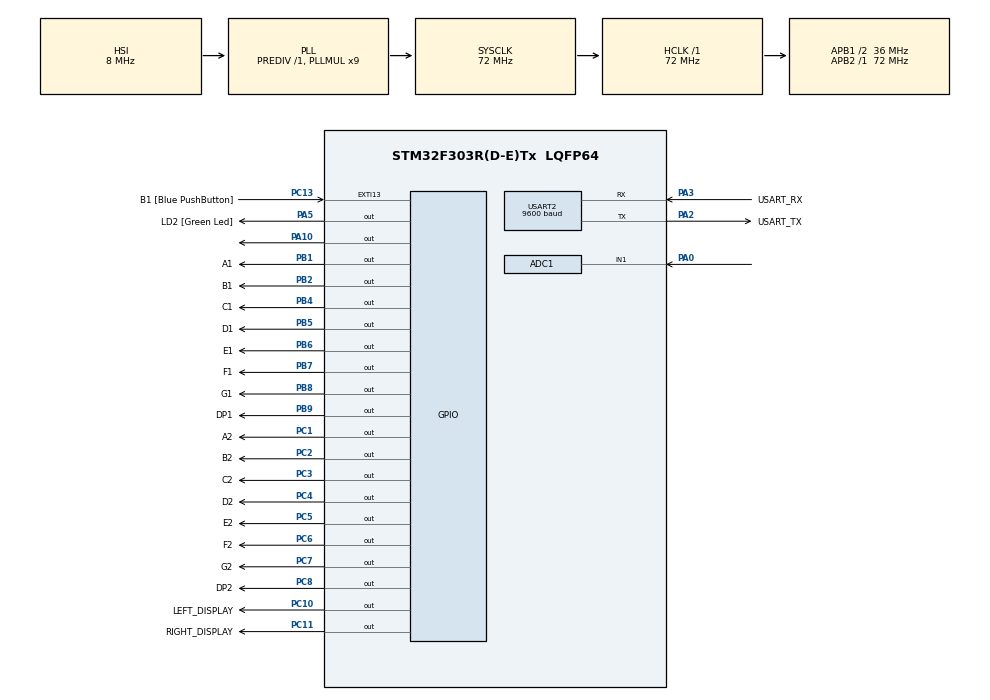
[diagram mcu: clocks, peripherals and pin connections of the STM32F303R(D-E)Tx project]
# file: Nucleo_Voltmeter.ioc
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ADC1.Channel-0\#ChannelRegularConversion=ADC_CHANNEL_1
ADC1.NbrOfConversionFlag=1
ADC1.Offset-0\#ChannelRegularConversion=0
ADC1.OffsetNumber-0\#ChannelRegularConversion=ADC_OFFSET_NONE
ADC1.Rank-0\#ChannelRegularConversion=1
ADC1.SamplingTime-0\#ChannelRegularConversion=ADC_SAMPLETIME_1CYCLE_5
ADC1.SamplingTimeOPAMP-0\#ChannelRegularConversion=ADC_SAMPLETIME_61CYCLES_5
ADC1.master=1
Mcu.Family=STM32F3
Mcu.Name=STM32F303R(D-E)Tx
Mcu.Package=LQFP64
NVIC.PriorityGroup=NVIC_PRIORITYGROUP_0
PA0.Mode=IN1-Single-Ended
PA0.Signal=ADC1_IN1
PA10.Signal=GPIO_Output
PA13.GPIO_Label=TMS
PA13.Mode=Serial_Wire
PA13.Signal=SYS_JTMS-SWDIO
PA14.GPIO_Label=TCK
PA14.Mode=Serial_Wire
PA14.Signal=SYS_JTCK-SWCLK
PA2.GPIO_Label=USART_TX
PA2.GPIO_Mode=GPIO_MODE_AF_PP
PA2.GPIO_PuPd=GPIO_NOPULL
PA2.GPIO_Speed=GPIO_SPEED_FREQ_LOW
PA2.Mode=Asynchronous
PA2.Signal=USART2_TX
PA3.GPIO_Label=USART_RX
PA3.GPIO_Mode=GPIO_MODE_AF_PP
PA3.GPIO_PuPd=GPIO_NOPULL
PA3.GPIO_Speed=GPIO_SPEED_FREQ_LOW
PA3.Mode=Asynchronous
PA3.Signal=USART2_RX
PA5.GPIO_Label=LD2 [Green Led]
PA5.GPIO_Mode=GPIO_MODE_OUTPUT_PP
PA5.GPIO_PuPd=GPIO_NOPULL
PA5.GPIO_Speed=GPIO_SPEED_FREQ_LOW
PA5.Signal=GPIO_Output
PB1.GPIO_Label=A1
PB1.Signal=GPIO_Output
PB2.GPIO_Label=B1
PB2.Signal=GPIO_Output
PB3.GPIO_Label=SWO
PB3.Signal=SYS_JTDO-TRACESWO
PB4.GPIO_Label=C1
PB4.Signal=GPIO_Output
PB5.GPIO_Label=D1
PB5.Signal=GPIO_Output
PB6.GPIO_Label=E1
PB6.Signal=GPIO_Output
PB7.GPIO_Label=F1
PB7.Signal=GPIO_Output
PB8.GPIO_Label=G1
PB8.Signal=GPIO_Output
PB9.GPIO_Label=DP1
PB9.Signal=GPIO_Output
PC1.GPIO_Label=A2
PC1.Signal=GPIO_Output
PC10.GPIO_Label=LEFT_DISPLAY
PC10.Signal=GPIO_Output
PC11.GPIO_Label=RIGHT_DISPLAY
PC11.Signal=GPIO_Output
PC13.GPIO_Label=B1 [Blue PushButton]
PC13.GPIO_ModeDefaultEXTI=GPIO_MODE_IT_FALLING
PC13.Signal=GPXTI13
PC14-OSC32_IN.Mode=LSE-External-Oscillator
PC14-OSC32_IN.Signal=RCC_OSC32_IN
PC15-OSC32_OUT.Mode=LSE-External-Oscillator
PC15-OSC32_OUT.Signal=RCC_OSC32_OUT
PC2.GPIO_Label=B2
PC2.Signal=GPIO_Output
PC3.GPIO_Label=C2
PC3.Signal=GPIO_Output
PC4.GPIO_Label=D2
PC4.Signal=GPIO_Output
PC5.GPIO_Label=E2
PC5.Signal=GPIO_Output
PC6.GPIO_Label=F2
PC6.Signal=GPIO_Output
PC7.GPIO_Label=G2
PC7.Signal=GPIO_Output
PC8.GPIO_Label=DP2
PC8.Signal=GPIO_Output
PF0-OSC_IN.Mode=HSE-External-Clock-Source
PF0-OSC_IN.Signal=RCC_OSC_IN
PF1-OSC_OUT.Signal=RCC_OSC_OUT
ProjectManager.HeapSize=0x200
ProjectManager.StackSize=0x400
ProjectManager.TargetToolchain=STM32CubeIDE
RCC.AHBFreq_Value=72000000
RCC.APB1CLKDivider=RCC_HCLK_DIV2
RCC.APB1Freq_Value=36000000
RCC.APB1TimFreq_Value=72000000
RCC.APB2Freq_Value=72000000
RCC.APB2TimFreq_Value=72000000
RCC.CortexFreq_Value=72000000
RCC.HCLKFreq_Value=72000000
RCC.HSE_VALUE=8000000
RCC.HSI_VALUE=8000000
RCC.PLLM=8
RCC.PLLMUL=RCC_PLL_MUL9
RCC.PLLN=336
RCC.PLLP=RCC_PLLP_DIV4
RCC.PLLQ=7
RCC.RCC_PLLsource_Clock_Source_FROM_HSE=RCC_HSE_PREDIV_DIV2
RCC.SYSCLKFreq_VALUE=72000000
RCC.SYSCLKSourceVirtual=RCC_SYSCLKSOURCE_PLLCLK
RCC.USBFreq_Value=72000000
USART2.BaudRate=9600
USART2.VirtualMode-Asynchronous=VM_ASYNC
board=NUCLEO-F303RE

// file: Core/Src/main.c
/* USER CODE BEGIN Header */
/**
  ******************************************************************************
  * @file           : main.c
  * @brief          : Main program body
  ******************************************************************************
  * @attention
  *
  * <h2><center>&copy; Copyright (c) 2024 STMicroelectronics.
  * All rights reserved.</center></h2>
  *
  * This software component is licensed by ST under BSD 3-Clause license,
  * the "License"; You may not use this file except in compliance with the
  * License. You may obtain a copy of the License at:
  *                        opensource.org/licenses/BSD-3-Clause
  *
  ******************************************************************************
  */
/* USER CODE END Header */
#include "main.h"

/* USER CODE BEGIN Includes */

// Libs declaration:
#include <string.h>
#include <stdio.h>

/* USER CODE END Includes */

/* USER CODE BEGIN PD */

// Pin definitions:

/* USER CODE END PD */

ADC_HandleTypeDef hadc1;

UART_HandleTypeDef huart2;

void SystemClock_Config(void);
static void MX_GPIO_Init(void);
static void MX_USART2_UART_Init(void);
static void MX_ADC1_Init(void);

int main(void)
{
  /* USER CODE BEGIN 1 */

// Deklaracja zmiennych:
uint16_t raw;
char msg[10];

  /* USER CODE END 1 */

  /* MCU Configuration--------------------------------------------------------*/

  /* Reset of all peripherals, Initializes the Flash interface and the Systick. */
  HAL_Init();

  /* Configure the system clock */
  SystemClock_Config();

  /* Initialize all configured peripherals */
  MX_GPIO_Init();
  MX_USART2_UART_Init();
  MX_ADC1_Init();

  /* Infinite loop */
  /* USER CODE BEGIN WHILE */
  while (1)
  {

//HAL_GPIO_WritePin(GPIOA, A_Pin , GPIO_PIN_RESET);

// Test: GPIO set pin high:
//HAL_GPIO_WritePin(GPIOA, GPIO_PIN_10, GPIO_PIN_SET);

// Get ADC Value:
HAL_ADC_Start(&hadc1);
HAL_ADC_PollForConversion(&hadc1, HAL_MAX_DELAY);
raw = HAL_ADC_GetValue(&hadc1);

// Test: GPIO set pin low:
//HAL_GPIO_WritePin(GPIOA, GPIO_PIN_10, GPIO_PIN_RESET);

 // USART check:
// Convert to string and print:
sprintf(msg, "%hu\r\n", raw);
HAL_UART_Transmit(&huart2, (uint8_t*)msg, strlen(msg), HAL_MAX_DELAY);

// 7seg display - if statement:

if (raw == 0)
{
	// Left num:
	HAL_GPIO_WritePin(GPIOB, A1_Pin, GPIO_PIN_RESET);
	HAL_GPIO_WritePin(GPIOB, B1_Pin, GPIO_PIN_RESET);
	HAL_GPIO_WritePin(GPIOB, C1_Pin, GPIO_PIN_RESET);
	HAL_GPIO_WritePin(GPIOB, D1_Pin, GPIO_PIN_RESET);
	HAL_GPIO_WritePin(GPIOB, E1_Pin, GPIO_PIN_RESET);
	HAL_GPIO_WritePin(GPIOB, F1_Pin, GPIO_PIN_RESET);
	HAL_GPIO_WritePin(GPIOB, G1_Pin, GPIO_PIN_SET);
	HAL_GPIO_WritePin(GPIOB, DP1_Pin, GPIO_PIN_RESET);

	// Right num:
	HAL_GPIO_WritePin(GPIOC, A2_Pin, GPIO_PIN_RESET);
	HAL_GPIO_WritePin(GPIOC, B2_Pin, GPIO_PIN_RESET);
	HAL_GPIO_WritePin(GPIOC, C2_Pin, GPIO_PIN_RESET);
	HAL_GPIO_WritePin(GPIOC, D2_Pin, GPIO_PIN_RESET);
	HAL_GPIO_WritePin(GPIOC, E2_Pin, GPIO_PIN_RESET);
	HAL_GPIO_WritePin(GPIOC, F2_Pin, GPIO_PIN_RESET);
	HAL_GPIO_WritePin(GPIOC, G2_Pin, GPIO_PIN_SET);
	HAL_GPIO_WritePin(GPIOC, DP2_Pin, GPIO_PIN_SET);

}
else if (raw > 0 && raw < 124)
{
	// Left num:
	HAL_GPIO_WritePin(GPIOB, A1_Pin, GPIO_PIN_RESET);
	HAL_GPIO_WritePin(GPIOB, B1_Pin, GPIO_PIN_RESET);
	HAL_GPIO_WritePin(GPIOB, C1_Pin, GPIO_PIN_RESET);
	HAL_GPIO_WritePin(GPIOB, D1_Pin, GPIO_PIN_RESET);
	HAL_GPIO_WritePin(GPIOB, E1_Pin, GPIO_PIN_RESET);
	HAL_GPIO_WritePin(GPIOB, F1_Pin, GPIO_PIN_RESET);
	HAL_GPIO_WritePin(GPIOB, G1_Pin, GPIO_PIN_SET);
	HAL_GPIO_WritePin(GPIOB, DP1_Pin, GPIO_PIN_RESET);

	// Right num:
	HAL_GPIO_WritePin(GPIOC, A2_Pin, GPIO_PIN_SET);
	HAL_GPIO_WritePin(GPIOC, B2_Pin, GPIO_PIN_RESET);
	HAL_GPIO_WritePin(GPIOC, C2_Pin, GPIO_PIN_RESET);
	HAL_GPIO_WritePin(GPIOC, D2_Pin, GPIO_PIN_SET);
	HAL_GPIO_WritePin(GPIOC, E2_Pin, GPIO_PIN_SET);
	HAL_GPIO_WritePin(GPIOC, F2_Pin, GPIO_PIN_SET);
	HAL_GPIO_WritePin(GPIOC, G2_Pin, GPIO_PIN_SET);
	HAL_GPIO_WritePin(GPIOC, DP2_Pin, GPIO_PIN_SET);
}
else if (raw >= 124 && raw < 248)
{
	// Left num:
	HAL_GPIO_WritePin(GPIOB, A1_Pin, GPIO_PIN_RESET);
	HAL_GPIO_WritePin(GPIOB, B1_Pin, GPIO_PIN_RESET);
	HAL_GPIO_WritePin(GPIOB, C1_Pin, GPIO_PIN_RESET);
	HAL_GPIO_WritePin(GPIOB, D1_Pin, GPIO_PIN_RESET);
	HAL_GPIO_WritePin(GPIOB, E1_Pin, GPIO_PIN_RESET);
	HAL_GPIO_WritePin(GPIOB, F1_Pin, GPIO_PIN_RESET);
	HAL_GPIO_WritePin(GPIOB, G1_Pin, GPIO_PIN_SET);
	HAL_GPIO_WritePin(GPIOB, DP1_Pin, GPIO_PIN_RESET);

	// Right num:
	HAL_GPIO_WritePin(GPIOC, A2_Pin, GPIO_PIN_RESET);
	HAL_GPIO_WritePin(GPIOC, B2_Pin, GPIO_PIN_RESET);
	HAL_GPIO_WritePin(GPIOC, C2_Pin, GPIO_PIN_SET);
	HAL_GPIO_WritePin(GPIOC, D2_Pin, GPIO_PIN_RESET);
	HAL_GPIO_WritePin(GPIOC, E2_Pin, GPIO_PIN_RESET);
	HAL_GPIO_WritePin(GPIOC, F2_Pin, GPIO_PIN_SET);
	HAL_GPIO_WritePin(GPIOC, G2_Pin, GPIO_PIN_RESET);
	HAL_GPIO_WritePin(GPIOC, DP2_Pin, GPIO_PIN_SET);
}
else if (raw >= 248 && raw < 372)
{
	// Left num:
	HAL_GPIO_WritePin(GPIOB, A1_Pin, GPIO_PIN_RESET);
	HAL_GPIO_WritePin(GPIOB, B1_Pin, GPIO_PIN_RESET);
	HAL_GPIO_WritePin(GPIOB, C1_Pin, GPIO_PIN_RESET);
	HAL_GPIO_WritePin(GPIOB, D1_Pin, GPIO_PIN_RESET);
	HAL_GPIO_WritePin(GPIOB, E1_Pin, GPIO_PIN_RESET);
	HAL_GPIO_WritePin(GPIOB, F1_Pin, GPIO_PIN_RESET);
	HAL_GPIO_WritePin(GPIOB, G1_Pin, GPIO_PIN_SET);
	HAL_GPIO_WritePin(GPIOB, DP1_Pin, GPIO_PIN_RESET);

	// Right num:
	HAL_GPIO_WritePin(GPIOC, A2_Pin, GPIO_PIN_RESET);
	HAL_GPIO_WritePin(GPIOC, B2_Pin, GPIO_PIN_RESET);
	HAL_GPIO_WritePin(GPIOC, C2_Pin, GPIO_PIN_RESET);
	HAL_GPIO_WritePin(GPIOC, D2_Pin, GPIO_PIN_RESET);
	HAL_GPIO_WritePin(GPIOC, E2_Pin, GPIO_PIN_SET);
	HAL_GPIO_WritePin(GPIOC, F2_Pin, GPIO_PIN_SET);
	HAL_GPIO_WritePin(GPIOC, G2_Pin, GPIO_PIN_RESET);
	HAL_GPIO_WritePin(GPIOC, DP2_Pin, GPIO_PIN_SET);
}
else if (raw >= 372 && raw < 496) //0.4
{
	// Left num:
	HAL_GPIO_WritePin(GPIOB, A1_Pin, GPIO_PIN_RESET);
	HAL_GPIO_WritePin(GPIOB, B1_Pin, GPIO_PIN_RESET);
	HAL_GPIO_WritePin(GPIOB, C1_Pin, GPIO_PIN_RESET);
	HAL_GPIO_WritePin(GPIOB, D1_Pin, GPIO_PIN_RESET);
	HAL_GPIO_WritePin(GPIOB, E1_Pin, GPIO_PIN_RESET);
	HAL_GPIO_WritePin(GPIOB, F1_Pin, GPIO_PIN_RESET);
	HAL_GPIO_WritePin(GPIOB, G1_Pin, GPIO_PIN_SET);
	HAL_GPIO_WritePin(GPIOB, DP1_Pin, GPIO_PIN_RESET);

	// Right num:
	HAL_GPIO_WritePin(GPIOC, A2_Pin, GPIO_PIN_SET);
	HAL_GPIO_WritePin(GPIOC, B2_Pin, GPIO_PIN_RESET);
	HAL_GPIO_WritePin(GPIOC, C2_Pin, GPIO_PIN_RESET);
	HAL_GPIO_WritePin(GPIOC, D2_Pin, GPIO_PIN_SET);
	HAL_GPIO_WritePin(GPIOC, E2_Pin, GPIO_PIN_SET);
	HAL_GPIO_WritePin(GPIOC, F2_Pin, GPIO_PIN_RESET);
	HAL_GPIO_WritePin(GPIOC, G2_Pin, GPIO_PIN_RESET);
	HAL_GPIO_WritePin(GPIOC, DP2_Pin, GPIO_PIN_SET);
}
else if (raw >= 496 && raw < 620)
{
	// Left num:
	HAL_GPIO_WritePin(GPIOB, A1_Pin, GPIO_PIN_RESET);
	HAL_GPIO_WritePin(GPIOB, B1_Pin, GPIO_PIN_RESET);
	HAL_GPIO_WritePin(GPIOB, C1_Pin, GPIO_PIN_RESET);
	HAL_GPIO_WritePin(GPIOB, D1_Pin, GPIO_PIN_RESET);
	HAL_GPIO_WritePin(GPIOB, E1_Pin, GPIO_PIN_RESET);
	HAL_GPIO_WritePin(GPIOB, F1_Pin, GPIO_PIN_RESET);
	HAL_GPIO_WritePin(GPIOB, G1_Pin, GPIO_PIN_SET);
	HAL_GPIO_WritePin(GPIOB, DP1_Pin, GPIO_PIN_RESET);

	// Right num:
	HAL_GPIO_WritePin(GPIOC, A2_Pin, GPIO_PIN_RESET);
	HAL_GPIO_WritePin(GPIOC, B2_Pin, GPIO_PIN_SET);
	HAL_GPIO_WritePin(GPIOC, C2_Pin, GPIO_PIN_RESET);
	HAL_GPIO_WritePin(GPIOC, D2_Pin, GPIO_PIN_RESET);
	HAL_GPIO_WritePin(GPIOC, E2_Pin, GPIO_PIN_SET);
	HAL_GPIO_WritePin(GPIOC, F2_Pin, GPIO_PIN_RESET);
	HAL_GPIO_WritePin(GPIOC, G2_Pin, GPIO_PIN_RESET);
	HAL_GPIO_WritePin(GPIOC, DP2_Pin, GPIO_PIN_SET);
}
else if (raw >= 620 && raw < 744) //0.6
{
	// Left num:
	HAL_GPIO_WritePin(GPIOB, A1_Pin, GPIO_PIN_RESET);
	HAL_GPIO_WritePin(GPIOB, B1_Pin, GPIO_PIN_RESET);
	HAL_GPIO_WritePin(GPIOB, C1_Pin, GPIO_PIN_RESET);
	HAL_GPIO_WritePin(GPIOB, D1_Pin, GPIO_PIN_RESET);
	HAL_GPIO_WritePin(GPIOB, E1_Pin, GPIO_PIN_RESET);
	HAL_GPIO_WritePin(GPIOB, F1_Pin, GPIO_PIN_RESET);
	HAL_GPIO_WritePin(GPIOB, G1_Pin, GPIO_PIN_SET);
	HAL_GPIO_WritePin(GPIOB, DP1_Pin, GPIO_PIN_RESET);

	// Right num:
	HAL_GPIO_WritePin(GPIOC, A2_Pin, GPIO_PIN_RESET);
	HAL_GPIO_WritePin(GPIOC, B2_Pin, GPIO_PIN_SET);
	HAL_GPIO_WritePin(GPIOC, C2_Pin, GPIO_PIN_RESET);
	HAL_GPIO_WritePin(GPIOC, D2_Pin, GPIO_PIN_RESET);
	HAL_GPIO_WritePin(GPIOC, E2_Pin, GPIO_PIN_RESET);
	HAL_GPIO_WritePin(GPIOC, F2_Pin, GPIO_PIN_RESET);
	HAL_GPIO_WritePin(GPIOC, G2_Pin, GPIO_PIN_RESET);
	HAL_GPIO_WritePin(GPIOC, DP2_Pin, GPIO_PIN_SET);

}
else if (raw >= 744 && raw < 868)
{
	// Left num:
	HAL_GPIO_WritePin(GPIOB, A1_Pin, GPIO_PIN_RESET);
	HAL_GPIO_WritePin(GPIOB, B1_Pin, GPIO_PIN_RESET);
	HAL_GPIO_WritePin(GPIOB, C1_Pin, GPIO_PIN_RESET);
	HAL_GPIO_WritePin(GPIOB, D1_Pin, GPIO_PIN_RESET);
	HAL_GPIO_WritePin(GPIOB, E1_Pin, GPIO_PIN_RESET);
	HAL_GPIO_WritePin(GPIOB, F1_Pin, GPIO_PIN_RESET);
	HAL_GPIO_WritePin(GPIOB, G1_Pin, GPIO_PIN_SET);
	HAL_GPIO_WritePin(GPIOB, DP1_Pin, GPIO_PIN_RESET);

	// Right num:
	HAL_GPIO_WritePin(GPIOC, A2_Pin, GPIO_PIN_RESET);
	HAL_GPIO_WritePin(GPIOC, B2_Pin, GPIO_PIN_RESET);
	HAL_GPIO_WritePin(GPIOC, C2_Pin, GPIO_PIN_RESET);
	HAL_GPIO_WritePin(GPIOC, D2_Pin, GPIO_PIN_SET);
	HAL_GPIO_WritePin(GPIOC, E2_Pin, GPIO_PIN_SET);
	HAL_GPIO_WritePin(GPIOC, F2_Pin, GPIO_PIN_SET);
	HAL_GPIO_WritePin(GPIOC, G2_Pin, GPIO_PIN_SET);
	HAL_GPIO_WritePin(GPIOC, DP2_Pin, GPIO_PIN_SET);

}
else if (raw >= 868 && raw < 992)
{
	// Left num:
	HAL_GPIO_WritePin(GPIOB, A1_Pin, GPIO_PIN_RESET);
	HAL_GPIO_WritePin(GPIOB, B1_Pin, GPIO_PIN_RESET);
	HAL_GPIO_WritePin(GPIOB, C1_Pin, GPIO_PIN_RESET);
	HAL_GPIO_WritePin(GPIOB, D1_Pin, GPIO_PIN_RESET);
	HAL_GPIO_WritePin(GPIOB, E1_Pin, GPIO_PIN_RESET);
	HAL_GPIO_WritePin(GPIOB, F1_Pin, GPIO_PIN_RESET);
	HAL_GPIO_WritePin(GPIOB, G1_Pin, GPIO_PIN_SET);
	HAL_GPIO_WritePin(GPIOB, DP1_Pin, GPIO_PIN_RESET);

	// Right num:
	HAL_GPIO_WritePin(GPIOC, A2_Pin, GPIO_PIN_RESET);
	HAL_GPIO_WritePin(GPIOC, B2_Pin, GPIO_PIN_RESET);
	HAL_GPIO_WritePin(GPIOC, C2_Pin, GPIO_PIN_RESET);
	HAL_GPIO_WritePin(GPIOC, D2_Pin, GPIO_PIN_RESET);
	HAL_GPIO_WritePin(GPIOC, E2_Pin, GPIO_PIN_RESET);
	HAL_GPIO_WritePin(GPIOC, F2_Pin, GPIO_PIN_RESET);
	HAL_GPIO_WritePin(GPIOC, G2_Pin, GPIO_PIN_RESET);
	HAL_GPIO_WritePin(GPIOC, DP2_Pin, GPIO_PIN_SET);
}
else if (raw >= 992 && raw < 1116)
{
	// Left num:
	HAL_GPIO_WritePin(GPIOB, A1_Pin, GPIO_PIN_RESET);
	HAL_GPIO_WritePin(GPIOB, B1_Pin, GPIO_PIN_RESET);
	HAL_GPIO_WritePin(GPIOB, C1_Pin, GPIO_PIN_RESET);
	HAL_GPIO_WritePin(GPIOB, D1_Pin, GPIO_PIN_RESET);
	HAL_GPIO_WritePin(GPIOB, E1_Pin, GPIO_PIN_RESET);
	HAL_GPIO_WritePin(GPIOB, F1_Pin, GPIO_PIN_RESET);
	HAL_GPIO_WritePin(GPIOB, G1_Pin, GPIO_PIN_SET);
	HAL_GPIO_WritePin(GPIOB, DP1_Pin, GPIO_PIN_RESET);

	// Right num:
	HAL_GPIO_WritePin(GPIOC, A2_Pin, GPIO_PIN_RESET);
	HAL_GPIO_WritePin(GPIOC, B2_Pin, GPIO_PIN_RESET);
	HAL_GPIO_WritePin(GPIOC, C2_Pin, GPIO_PIN_RESET);
	HAL_GPIO_WritePin(GPIOC, D2_Pin, GPIO_PIN_RESET);
	HAL_GPIO_WritePin(GPIOC, E2_Pin, GPIO_PIN_SET);
	HAL_GPIO_WritePin(GPIOC, F2_Pin, GPIO_PIN_RESET);
	HAL_GPIO_WritePin(GPIOC, G2_Pin, GPIO_PIN_RESET);
	HAL_GPIO_WritePin(GPIOC, DP2_Pin, GPIO_PIN_SET);
}
else if (raw >= 1116 && raw < 1240) //1.0
{
	// Left num:
	HAL_GPIO_WritePin(GPIOB, A1_Pin, GPIO_PIN_SET);
	HAL_GPIO_WritePin(GPIOB, B1_Pin, GPIO_PIN_RESET);
	HAL_GPIO_WritePin(GPIOB, C1_Pin, GPIO_PIN_RESET);
	HAL_GPIO_WritePin(GPIOB, D1_Pin, GPIO_PIN_SET);
	HAL_GPIO_WritePin(GPIOB, E1_Pin, GPIO_PIN_SET);
	HAL_GPIO_WritePin(GPIOB, F1_Pin, GPIO_PIN_SET);
	HAL_GPIO_WritePin(GPIOB, G1_Pin, GPIO_PIN_SET);
	HAL_GPIO_WritePin(GPIOB, DP1_Pin, GPIO_PIN_RESET);

	// Right num:
	HAL_GPIO_WritePin(GPIOC, A2_Pin, GPIO_PIN_RESET);
	HAL_GPIO_WritePin(GPIOC, B2_Pin, GPIO_PIN_RESET);
	HAL_GPIO_WritePin(GPIOC, C2_Pin, GPIO_PIN_RESET);
	HAL_GPIO_WritePin(GPIOC, D2_Pin, GPIO_PIN_RESET);
	HAL_GPIO_WritePin(GPIOC, E2_Pin, GPIO_PIN_RESET);
	HAL_GPIO_WritePin(GPIOC, F2_Pin, GPIO_PIN_RESET);
	HAL_GPIO_WritePin(GPIOC, G2_Pin, GPIO_PIN_SET);
	HAL_GPIO_WritePin(GPIOC, DP2_Pin, GPIO_PIN_SET);
}
else if (raw >= 1240 && raw < 1364)
{
	// Left num:
	HAL_GPIO_WritePin(GPIOB, A1_Pin, GPIO_PIN_SET);
	HAL_GPIO_WritePin(GPIOB, B1_Pin, GPIO_PIN_RESET);
	HAL_GPIO_WritePin(GPIOB, C1_Pin, GPIO_PIN_RESET);
	HAL_GPIO_WritePin(GPIOB, D1_Pin, GPIO_PIN_SET);
	HAL_GPIO_WritePin(GPIOB, E1_Pin, GPIO_PIN_SET);
	HAL_GPIO_WritePin(GPIOB, F1_Pin, GPIO_PIN_SET);
	HAL_GPIO_WritePin(GPIOB, G1_Pin, GPIO_PIN_SET);
	HAL_GPIO_WritePin(GPIOB, DP1_Pin, GPIO_PIN_RESET);

	// Right num:
	HAL_GPIO_WritePin(GPIOC, A2_Pin, GPIO_PIN_SET);
	HAL_GPIO_WritePin(GPIOC, B2_Pin, GPIO_PIN_RESET);
	HAL_GPIO_WritePin(GPIOC, C2_Pin, GPIO_PIN_RESET);
	HAL_GPIO_WritePin(GPIOC, D2_Pin, GPIO_PIN_SET);
	HAL_GPIO_WritePin(GPIOC, E2_Pin, GPIO_PIN_SET);
	HAL_GPIO_WritePin(GPIOC, F2_Pin, GPIO_PIN_SET);
	HAL_GPIO_WritePin(GPIOC, G2_Pin, GPIO_PIN_SET);
	HAL_GPIO_WritePin(GPIOC, DP2_Pin, GPIO_PIN_SET);
}
else if (raw >= 1364 && raw < 1488)
{
	// Left num:
	HAL_GPIO_WritePin(GPIOB, A1_Pin, GPIO_PIN_SET);
	HAL_GPIO_WritePin(GPIOB, B1_Pin, GPIO_PIN_RESET);
	HAL_GPIO_WritePin(GPIOB, C1_Pin, GPIO_PIN_RESET);
	HAL_GPIO_WritePin(GPIOB, D1_Pin, GPIO_PIN_SET);
	HAL_GPIO_WritePin(GPIOB, E1_Pin, GPIO_PIN_SET);
	HAL_GPIO_WritePin(GPIOB, F1_Pin, GPIO_PIN_SET);
	HAL_GPIO_WritePin(GPIOB, G1_Pin, GPIO_PIN_SET);
	HAL_GPIO_WritePin(GPIOB, DP1_Pin, GPIO_PIN_RESET);

	// Right num:
	HAL_GPIO_WritePin(GPIOC, A2_Pin, GPIO_PIN_RESET);
	HAL_GPIO_WritePin(GPIOC, B2_Pin, GPIO_PIN_RESET);
	HAL_GPIO_WritePin(GPIOC, C2_Pin, GPIO_PIN_SET);
	HAL_GPIO_WritePin(GPIOC, D2_Pin, GPIO_PIN_RESET);
	HAL_GPIO_WritePin(GPIOC, E2_Pin, GPIO_PIN_RESET);
	HAL_GPIO_WritePin(GPIOC, F2_Pin, GPIO_PIN_SET);
	HAL_GPIO_WritePin(GPIOC, G2_Pin, GPIO_PIN_RESET);
	HAL_GPIO_WritePin(GPIOC, DP2_Pin, GPIO_PIN_SET);
}
else if (raw >= 1488 && raw < 1612)
{
	// Left num:
	HAL_GPIO_WritePin(GPIOB, A1_Pin, GPIO_PIN_SET);
	HAL_GPIO_WritePin(GPIOB, B1_Pin, GPIO_PIN_RESET);
	HAL_GPIO_WritePin(GPIOB, C1_Pin, GPIO_PIN_RESET);
	HAL_GPIO_WritePin(GPIOB, D1_Pin, GPIO_PIN_SET);
	HAL_GPIO_WritePin(GPIOB, E1_Pin, GPIO_PIN_SET);
	HAL_GPIO_WritePin(GPIOB, F1_Pin, GPIO_PIN_SET);
	HAL_GPIO_WritePin(GPIOB, G1_Pin, GPIO_PIN_SET);
	HAL_GPIO_WritePin(GPIOB, DP1_Pin, GPIO_PIN_RESET);

	// Right num:
	HAL_GPIO_WritePin(GPIOC, A2_Pin, GPIO_PIN_RESET);
	HAL_GPIO_WritePin(GPIOC, B2_Pin, GPIO_PIN_RESET);
	HAL_GPIO_WritePin(GPIOC, C2_Pin, GPIO_PIN_RESET);
	HAL_GPIO_WritePin(GPIOC, D2_Pin, GPIO_PIN_RESET);
	HAL_GPIO_WritePin(GPIOC, E2_Pin, GPIO_PIN_SET);
	HAL_GPIO_WritePin(GPIOC, F2_Pin, GPIO_PIN_SET);
	HAL_GPIO_WritePin(GPIOC, G2_Pin, GPIO_PIN_RESET);
	HAL_GPIO_WritePin(GPIOC, DP2_Pin, GPIO_PIN_SET);
}
else if (raw >= 1612 && raw < 1736) //1.4
{
	// Left num:
	HAL_GPIO_WritePin(GPIOB, A1_Pin, GPIO_PIN_SET);
	HAL_GPIO_WritePin(GPIOB, B1_Pin, GPIO_PIN_RESET);
	HAL_GPIO_WritePin(GPIOB, C1_Pin, GPIO_PIN_RESET);
	HAL_GPIO_WritePin(GPIOB, D1_Pin, GPIO_PIN_SET);
	HAL_GPIO_WritePin(GPIOB, E1_Pin, GPIO_PIN_SET);
	HAL_GPIO_WritePin(GPIOB, F1_Pin, GPIO_PIN_SET);
	HAL_GPIO_WritePin(GPIOB, G1_Pin, GPIO_PIN_SET);
	HAL_GPIO_WritePin(GPIOB, DP1_Pin, GPIO_PIN_RESET);

	// Right num:
	HAL_GPIO_WritePin(GPIOC, A2_Pin, GPIO_PIN_SET);
	HAL_GPIO_WritePin(GPIOC, B2_Pin, GPIO_PIN_RESET);
	HAL_GPIO_WritePin(GPIOC, C2_Pin, GPIO_PIN_RESET);
	HAL_GPIO_WritePin(GPIOC, D2_Pin, GPIO_PIN_SET);
	HAL_GPIO_WritePin(GPIOC, E2_Pin, GPIO_PIN_SET);
	HAL_GPIO_WritePin(GPIOC, F2_Pin, GPIO_PIN_RESET);
	HAL_GPIO_WritePin(GPIOC, G2_Pin, GPIO_PIN_RESET);
	HAL_GPIO_WritePin(GPIOC, DP2_Pin, GPIO_PIN_SET);
}
else if (raw >= 1736 && raw < 1860)
{
	// Left num:
	HAL_GPIO_WritePin(GPIOB, A1_Pin, GPIO_PIN_SET);
	HAL_GPIO_WritePin(GPIOB, B1_Pin, GPIO_PIN_RESET);
	HAL_GPIO_WritePin(GPIOB, C1_Pin, GPIO_PIN_RESET);
	HAL_GPIO_WritePin(GPIOB, D1_Pin, GPIO_PIN_SET);
	HAL_GPIO_WritePin(GPIOB, E1_Pin, GPIO_PIN_SET);
	HAL_GPIO_WritePin(GPIOB, F1_Pin, GPIO_PIN_SET);
	HAL_GPIO_WritePin(GPIOB, G1_Pin, GPIO_PIN_SET);
	HAL_GPIO_WritePin(GPIOB, DP1_Pin, GPIO_PIN_RESET);

	// Right num:
	HAL_GPIO_WritePin(GPIOC, A2_Pin, GPIO_PIN_RESET);
	HAL_GPIO_WritePin(GPIOC, B2_Pin, GPIO_PIN_SET);
	HAL_GPIO_WritePin(GPIOC, C2_Pin, GPIO_PIN_RESET);
	HAL_GPIO_WritePin(GPIOC, D2_Pin, GPIO_PIN_RESET);
	HAL_GPIO_WritePin(GPIOC, E2_Pin, GPIO_PIN_SET);
	HAL_GPIO_WritePin(GPIOC, F2_Pin, GPIO_PIN_RESET);
	HAL_GPIO_WritePin(GPIOC, G2_Pin, GPIO_PIN_RESET);
	HAL_GPIO_WritePin(GPIOC, DP2_Pin, GPIO_PIN_SET);
}
else if (raw >= 1860 && raw < 1984)
{
	// Left num:
	HAL_GPIO_WritePin(GPIOB, A1_Pin, GPIO_PIN_SET);
	HAL_GPIO_WritePin(GPIOB, B1_Pin, GPIO_PIN_RESET);
	HAL_GPIO_WritePin(GPIOB, C1_Pin, GPIO_PIN_RESET);
	HAL_GPIO_WritePin(GPIOB, D1_Pin, GPIO_PIN_SET);
	HAL_GPIO_WritePin(GPIOB, E1_Pin, GPIO_PIN_SET);
	HAL_GPIO_WritePin(GPIOB, F1_Pin, GPIO_PIN_SET);
	HAL_GPIO_WritePin(GPIOB, G1_Pin, GPIO_PIN_SET);
	HAL_GPIO_WritePin(GPIOB, DP1_Pin, GPIO_PIN_RESET);

	// Right num:
	HAL_GPIO_WritePin(GPIOC, A2_Pin, GPIO_PIN_RESET);
	HAL_GPIO_WritePin(GPIOC, B2_Pin, GPIO_PIN_SET);
	HAL_GPIO_WritePin(GPIOC, C2_Pin, GPIO_PIN_RESET);
	HAL_GPIO_WritePin(GPIOC, D2_Pin, GPIO_PIN_RESET);
	HAL_GPIO_WritePin(GPIOC, E2_Pin, GPIO_PIN_RESET);
	HAL_GPIO_WritePin(GPIOC, F2_Pin, GPIO_PIN_RESET);
	HAL_GPIO_WritePin(GPIOC, G2_Pin, GPIO_PIN_RESET);
	HAL_GPIO_WritePin(GPIOC, DP2_Pin, GPIO_PIN_SET);
}
else if (raw >= 1984 && raw < 2108)
{
	// Left num:
	HAL_GPIO_WritePin(GPIOB, A1_Pin, GPIO_PIN_SET);
	HAL_GPIO_WritePin(GPIOB, B1_Pin, GPIO_PIN_RESET);
	HAL_GPIO_WritePin(GPIOB, C1_Pin, GPIO_PIN_RESET);
	HAL_GPIO_WritePin(GPIOB, D1_Pin, GPIO_PIN_SET);
	HAL_GPIO_WritePin(GPIOB, E1_Pin, GPIO_PIN_SET);
	HAL_GPIO_WritePin(GPIOB, F1_Pin, GPIO_PIN_SET);
	HAL_GPIO_WritePin(GPIOB, G1_Pin, GPIO_PIN_SET);
	HAL_GPIO_WritePin(GPIOB, DP1_Pin, GPIO_PIN_RESET);

	// Right num:
	HAL_GPIO_WritePin(GPIOC, A2_Pin, GPIO_PIN_RESET);
	HAL_GPIO_WritePin(GPIOC, B2_Pin, GPIO_PIN_RESET);
	HAL_GPIO_WritePin(GPIOC, C2_Pin, GPIO_PIN_RESET);
	HAL_GPIO_WritePin(GPIOC, D2_Pin, GPIO_PIN_SET);
	HAL_GPIO_WritePin(GPIOC, E2_Pin, GPIO_PIN_SET);
	HAL_GPIO_WritePin(GPIOC, F2_Pin, GPIO_PIN_SET);
	HAL_GPIO_WritePin(GPIOC, G2_Pin, GPIO_PIN_SET);
	HAL_GPIO_WritePin(GPIOC, DP2_Pin, GPIO_PIN_SET);
}
else if (raw >= 2108 && raw < 2232)
{
	// Left num:
	HAL_GPIO_WritePin(GPIOB, A1_Pin, GPIO_PIN_SET);
	HAL_GPIO_WritePin(GPIOB, B1_Pin, GPIO_PIN_RESET);
	HAL_GPIO_WritePin(GPIOB, C1_Pin, GPIO_PIN_RESET);
	HAL_GPIO_WritePin(GPIOB, D1_Pin, GPIO_PIN_SET);
	HAL_GPIO_WritePin(GPIOB, E1_Pin, GPIO_PIN_SET);
	HAL_GPIO_WritePin(GPIOB, F1_Pin, GPIO_PIN_SET);
	HAL_GPIO_WritePin(GPIOB, G1_Pin, GPIO_PIN_SET);
	HAL_GPIO_WritePin(GPIOB, DP1_Pin, GPIO_PIN_RESET);

	// Right num:
	HAL_GPIO_WritePin(GPIOC, A2_Pin, GPIO_PIN_RESET);
	HAL_GPIO_WritePin(GPIOC, B2_Pin, GPIO_PIN_RESET);
	HAL_GPIO_WritePin(GPIOC, C2_Pin, GPIO_PIN_RESET);
	HAL_GPIO_WritePin(GPIOC, D2_Pin, GPIO_PIN_RESET);
	HAL_GPIO_WritePin(GPIOC, E2_Pin, GPIO_PIN_RESET);
	HAL_GPIO_WritePin(GPIOC, F2_Pin, GPIO_PIN_RESET);
	HAL_GPIO_WritePin(GPIOC, G2_Pin, GPIO_PIN_RESET);
	HAL_GPIO_WritePin(GPIOC, DP2_Pin, GPIO_PIN_SET);
}
else if (raw >= 2232 && raw < 2356)
{
	// Left num:
	HAL_GPIO_WritePin(GPIOB, A1_Pin, GPIO_PIN_SET);
	HAL_GPIO_WritePin(GPIOB, B1_Pin, GPIO_PIN_RESET);
	HAL_GPIO_WritePin(GPIOB, C1_Pin, GPIO_PIN_RESET);
	HAL_GPIO_WritePin(GPIOB, D1_Pin, GPIO_PIN_SET);
	HAL_GPIO_WritePin(GPIOB, E1_Pin, GPIO_PIN_SET);
	HAL_GPIO_WritePin(GPIOB, F1_Pin, GPIO_PIN_SET);
	HAL_GPIO_WritePin(GPIOB, G1_Pin, GPIO_PIN_SET);
	HAL_GPIO_WritePin(GPIOB, DP1_Pin, GPIO_PIN_RESET);

	// Right num:
	HAL_GPIO_WritePin(GPIOC, A2_Pin, GPIO_PIN_RESET);
	HAL_GPIO_WritePin(GPIOC, B2_Pin, GPIO_PIN_RESET);
	HAL_GPIO_WritePin(GPIOC, C2_Pin, GPIO_PIN_RESET);
	HAL_GPIO_WritePin(GPIOC, D2_Pin, GPIO_PIN_RESET);
	HAL_GPIO_WritePin(GPIOC, E2_Pin, GPIO_PIN_SET);
	HAL_GPIO_WritePin(GPIOC, F2_Pin, GPIO_PIN_RESET);
	HAL_GPIO_WritePin(GPIOC, G2_Pin, GPIO_PIN_RESET);
	HAL_GPIO_WritePin(GPIOC, DP2_Pin, GPIO_PIN_SET);
}
else if (raw >= 2356 && raw < 2480) // 2.0
{
	// Left num:
	HAL_GPIO_WritePin(GPIOB, A1_Pin, GPIO_PIN_RESET);
	HAL_GPIO_WritePin(GPIOB, B1_Pin, GPIO_PIN_RESET);
	HAL_GPIO_WritePin(GPIOB, C1_Pin, GPIO_PIN_SET);
	HAL_GPIO_WritePin(GPIOB, D1_Pin, GPIO_PIN_RESET);
	HAL_GPIO_WritePin(GPIOB, E1_Pin, GPIO_PIN_RESET);
	HAL_GPIO_WritePin(GPIOB, F1_Pin, GPIO_PIN_SET);
	HAL_GPIO_WritePin(GPIOB, G1_Pin, GPIO_PIN_RESET);
	HAL_GPIO_WritePin(GPIOB, DP1_Pin, GPIO_PIN_RESET);

	// Right num:
	HAL_GPIO_WritePin(GPIOC, A2_Pin, GPIO_PIN_RESET);
	HAL_GPIO_WritePin(GPIOC, B2_Pin, GPIO_PIN_RESET);
	HAL_GPIO_WritePin(GPIOC, C2_Pin, GPIO_PIN_RESET);
	HAL_GPIO_WritePin(GPIOC, D2_Pin, GPIO_PIN_RESET);
	HAL_GPIO_WritePin(GPIOC, E2_Pin, GPIO_PIN_RESET);
	HAL_GPIO_WritePin(GPIOC, F2_Pin, GPIO_PIN_RESET);
	HAL_GPIO_WritePin(GPIOC, G2_Pin, GPIO_PIN_SET);
	HAL_GPIO_WritePin(GPIOC, DP2_Pin, GPIO_PIN_SET);
}
else if (raw >= 2480 && raw < 2604)
{
	// Left num:
	HAL_GPIO_WritePin(GPIOB, A1_Pin, GPIO_PIN_RESET);
	HAL_GPIO_WritePin(GPIOB, B1_Pin, GPIO_PIN_RESET);
	HAL_GPIO_WritePin(GPIOB, C1_Pin, GPIO_PIN_SET);
	HAL_GPIO_WritePin(GPIOB, D1_Pin, GPIO_PIN_RESET);
	HAL_GPIO_WritePin(GPIOB, E1_Pin, GPIO_PIN_RESET);
	HAL_GPIO_WritePin(GPIOB, F1_Pin, GPIO_PIN_SET);
	HAL_GPIO_WritePin(GPIOB, G1_Pin, GPIO_PIN_RESET);
	HAL_GPIO_WritePin(GPIOB, DP1_Pin, GPIO_PIN_RESET);

	// Right num:
	HAL_GPIO_WritePin(GPIOC, A2_Pin, GPIO_PIN_SET);
	HAL_GPIO_WritePin(GPIOC, B2_Pin, GPIO_PIN_RESET);
	HAL_GPIO_WritePin(GPIOC, C2_Pin, GPIO_PIN_RESET);
	HAL_GPIO_WritePin(GPIOC, D2_Pin, GPIO_PIN_SET);
	HAL_GPIO_WritePin(GPIOC, E2_Pin, GPIO_PIN_SET);
	HAL_GPIO_WritePin(GPIOC, F2_Pin, GPIO_PIN_SET);
	HAL_GPIO_WritePin(GPIOC, G2_Pin, GPIO_PIN_SET);
	HAL_GPIO_WritePin(GPIOC, DP2_Pin, GPIO_PIN_SET);
}
else if (raw >= 2604 && raw < 2728)
{
	// Left num:
	HAL_GPIO_WritePin(GPIOB, A1_Pin, GPIO_PIN_RESET);
	HAL_GPIO_WritePin(GPIOB, B1_Pin, GPIO_PIN_RESET);
	HAL_GPIO_WritePin(GPIOB, C1_Pin, GPIO_PIN_SET);
	HAL_GPIO_WritePin(GPIOB, D1_Pin, GPIO_PIN_RESET);
	HAL_GPIO_WritePin(GPIOB, E1_Pin, GPIO_PIN_RESET);
	HAL_GPIO_WritePin(GPIOB, F1_Pin, GPIO_PIN_SET);
	HAL_GPIO_WritePin(GPIOB, G1_Pin, GPIO_PIN_RESET);
	HAL_GPIO_WritePin(GPIOB, DP1_Pin, GPIO_PIN_RESET);

	// Right num:
	HAL_GPIO_WritePin(GPIOC, A2_Pin, GPIO_PIN_RESET);
	HAL_GPIO_WritePin(GPIOC, B2_Pin, GPIO_PIN_RESET);
	HAL_GPIO_WritePin(GPIOC, C2_Pin, GPIO_PIN_SET);
	HAL_GPIO_WritePin(GPIOC, D2_Pin, GPIO_PIN_RESET);
	HAL_GPIO_WritePin(GPIOC, E2_Pin, GPIO_PIN_RESET);
	HAL_GPIO_WritePin(GPIOC, F2_Pin, GPIO_PIN_SET);
	HAL_GPIO_WritePin(GPIOC, G2_Pin, GPIO_PIN_RESET);
	HAL_GPIO_WritePin(GPIOC, DP2_Pin, GPIO_PIN_SET);
}
else if (raw >= 2728 && raw < 2852)
{
	// Left num:
	HAL_GPIO_WritePin(GPIOB, A1_Pin, GPIO_PIN_RESET);
	HAL_GPIO_WritePin(GPIOB, B1_Pin, GPIO_PIN_RESET);
	HAL_GPIO_WritePin(GPIOB, C1_Pin, GPIO_PIN_SET);
	HAL_GPIO_WritePin(GPIOB, D1_Pin, GPIO_PIN_RESET);
	HAL_GPIO_WritePin(GPIOB, E1_Pin, GPIO_PIN_RESET);
	HAL_GPIO_WritePin(GPIOB, F1_Pin, GPIO_PIN_SET);
	HAL_GPIO_WritePin(GPIOB, G1_Pin, GPIO_PIN_RESET);
	HAL_GPIO_WritePin(GPIOB, DP1_Pin, GPIO_PIN_RESET);

	// Right num:
	HAL_GPIO_WritePin(GPIOC, A2_Pin, GPIO_PIN_RESET);
	HAL_GPIO_WritePin(GPIOC, B2_Pin, GPIO_PIN_RESET);
	HAL_GPIO_WritePin(GPIOC, C2_Pin, GPIO_PIN_RESET);
	HAL_GPIO_WritePin(GPIOC, D2_Pin, GPIO_PIN_RESET);
	HAL_GPIO_WritePin(GPIOC, E2_Pin, GPIO_PIN_SET);
	HAL_GPIO_WritePin(GPIOC, F2_Pin, GPIO_PIN_SET);
	HAL_GPIO_WritePin(GPIOC, G2_Pin, GPIO_PIN_RESET);
	HAL_GPIO_WritePin(GPIOC, DP2_Pin, GPIO_PIN_SET);
}
else if (raw >= 2852 && raw < 2976)
{
	// Left num:
	HAL_GPIO_WritePin(GPIOB, A1_Pin, GPIO_PIN_RESET);
	HAL_GPIO_WritePin(GPIOB, B1_Pin, GPIO_PIN_RESET);
	HAL_GPIO_WritePin(GPIOB, C1_Pin, GPIO_PIN_SET);
	HAL_GPIO_WritePin(GPIOB, D1_Pin, GPIO_PIN_RESET);
	HAL_GPIO_WritePin(GPIOB, E1_Pin, GPIO_PIN_RESET);
	HAL_GPIO_WritePin(GPIOB, F1_Pin, GPIO_PIN_SET);
	HAL_GPIO_WritePin(GPIOB, G1_Pin, GPIO_PIN_RESET);
	HAL_GPIO_WritePin(GPIOB, DP1_Pin, GPIO_PIN_RESET);

	// Right num:
	HAL_GPIO_WritePin(GPIOC, A2_Pin, GPIO_PIN_SET);
	HAL_GPIO_WritePin(GPIOC, B2_Pin, GPIO_PIN_RESET);
	HAL_GPIO_WritePin(GPIOC, C2_Pin, GPIO_PIN_RESET);
	HAL_GPIO_WritePin(GPIOC, D2_Pin, GPIO_PIN_SET);
	HAL_GPIO_WritePin(GPIOC, E2_Pin, GPIO_PIN_SET);
	HAL_GPIO_WritePin(GPIOC, F2_Pin, GPIO_PIN_RESET);
	HAL_GPIO_WritePin(GPIOC, G2_Pin, GPIO_PIN_RESET);
	HAL_GPIO_WritePin(GPIOC, DP2_Pin, GPIO_PIN_SET);
}
else if (raw >= 2976 && raw < 3100)
{
	// Left num:
	HAL_GPIO_WritePin(GPIOB, A1_Pin, GPIO_PIN_RESET);
	HAL_GPIO_WritePin(GPIOB, B1_Pin, GPIO_PIN_RESET);
	HAL_GPIO_WritePin(GPIOB, C1_Pin, GPIO_PIN_SET);
	HAL_GPIO_WritePin(GPIOB, D1_Pin, GPIO_PIN_RESET);
	HAL_GPIO_WritePin(GPIOB, E1_Pin, GPIO_PIN_RESET);
	HAL_GPIO_WritePin(GPIOB, F1_Pin, GPIO_PIN_SET);
	HAL_GPIO_WritePin(GPIOB, G1_Pin, GPIO_PIN_RESET);
	HAL_GPIO_WritePin(GPIOB, DP1_Pin, GPIO_PIN_RESET);

	// Right num:
	HAL_GPIO_WritePin(GPIOC, A2_Pin, GPIO_PIN_RESET);
	HAL_GPIO_WritePin(GPIOC, B2_Pin, GPIO_PIN_SET);
	HAL_GPIO_WritePin(GPIOC, C2_Pin, GPIO_PIN_RESET);
	HAL_GPIO_WritePin(GPIOC, D2_Pin, GPIO_PIN_RESET);
	HAL_GPIO_WritePin(GPIOC, E2_Pin, GPIO_PIN_SET);
	HAL_GPIO_WritePin(GPIOC, F2_Pin, GPIO_PIN_RESET);
	HAL_GPIO_WritePin(GPIOC, G2_Pin, GPIO_PIN_RESET);
	HAL_GPIO_WritePin(GPIOC, DP2_Pin, GPIO_PIN_SET);
}
else if (raw >= 3100 && raw < 3224)
{
	// Left num:
	HAL_GPIO_WritePin(GPIOB, A1_Pin, GPIO_PIN_RESET);
	HAL_GPIO_WritePin(GPIOB, B1_Pin, GPIO_PIN_RESET);
	HAL_GPIO_WritePin(GPIOB, C1_Pin, GPIO_PIN_SET);
	HAL_GPIO_WritePin(GPIOB, D1_Pin, GPIO_PIN_RESET);
	HAL_GPIO_WritePin(GPIOB, E1_Pin, GPIO_PIN_RESET);
	HAL_GPIO_WritePin(GPIOB, F1_Pin, GPIO_PIN_SET);
	HAL_GPIO_WritePin(GPIOB, G1_Pin, GPIO_PIN_RESET);
	HAL_GPIO_WritePin(GPIOB, DP1_Pin, GPIO_PIN_RESET);

	// Right num:
	HAL_GPIO_WritePin(GPIOC, A2_Pin, GPIO_PIN_RESET);
	HAL_GPIO_WritePin(GPIOC, B2_Pin, GPIO_PIN_SET);
	HAL_GPIO_WritePin(GPIOC, C2_Pin, GPIO_PIN_RESET);
	HAL_GPIO_WritePin(GPIOC, D2_Pin, GPIO_PIN_RESET);
	HAL_GPIO_WritePin(GPIOC, E2_Pin, GPIO_PIN_RESET);
	HAL_GPIO_WritePin(GPIOC, F2_Pin, GPIO_PIN_RESET);
	HAL_GPIO_WritePin(GPIOC, G2_Pin, GPIO_PIN_RESET);
	HAL_GPIO_WritePin(GPIOC, DP2_Pin, GPIO_PIN_SET);
}
else if (raw >= 3224 && raw < 3348)
{
	// Left num:
	HAL_GPIO_WritePin(GPIOB, A1_Pin, GPIO_PIN_RESET);
	HAL_GPIO_WritePin(GPIOB, B1_Pin, GPIO_PIN_RESET);
	HAL_GPIO_WritePin(GPIOB, C1_Pin, GPIO_PIN_SET);
	HAL_GPIO_WritePin(GPIOB, D1_Pin, GPIO_PIN_RESET);
	HAL_GPIO_WritePin(GPIOB, E1_Pin, GPIO_PIN_RESET);
	HAL_GPIO_WritePin(GPIOB, F1_Pin, GPIO_PIN_SET);
	HAL_GPIO_WritePin(GPIOB, G1_Pin, GPIO_PIN_RESET);
	HAL_GPIO_WritePin(GPIOB, DP1_Pin, GPIO_PIN_RESET);

	// Right num:
	HAL_GPIO_WritePin(GPIOC, A2_Pin, GPIO_PIN_RESET);
	HAL_GPIO_WritePin(GPIOC, B2_Pin, GPIO_PIN_RESET);
	HAL_GPIO_WritePin(GPIOC, C2_Pin, GPIO_PIN_RESET);
	HAL_GPIO_WritePin(GPIOC, D2_Pin, GPIO_PIN_SET);
	HAL_GPIO_WritePin(GPIOC, E2_Pin, GPIO_PIN_SET);
	HAL_GPIO_WritePin(GPIOC, F2_Pin, GPIO_PIN_SET);
	HAL_GPIO_WritePin(GPIOC, G2_Pin, GPIO_PIN_SET);
	HAL_GPIO_WritePin(GPIOC, DP2_Pin, GPIO_PIN_SET);
}
else if (raw >= 3348 && raw < 3472)
{
	// Left num:
	HAL_GPIO_WritePin(GPIOB, A1_Pin, GPIO_PIN_RESET);
	HAL_GPIO_WritePin(GPIOB, B1_Pin, GPIO_PIN_RESET);
	HAL_GPIO_WritePin(GPIOB, C1_Pin, GPIO_PIN_SET);
	HAL_GPIO_WritePin(GPIOB, D1_Pin, GPIO_PIN_RESET);
	HAL_GPIO_WritePin(GPIOB, E1_Pin, GPIO_PIN_RESET);
	HAL_GPIO_WritePin(GPIOB, F1_Pin, GPIO_PIN_SET);
	HAL_GPIO_WritePin(GPIOB, G1_Pin, GPIO_PIN_RESET);
	HAL_GPIO_WritePin(GPIOB, DP1_Pin, GPIO_PIN_RESET);

	// Right num:
	HAL_GPIO_WritePin(GPIOC, A2_Pin, GPIO_PIN_RESET);
	HAL_GPIO_WritePin(GPIOC, B2_Pin, GPIO_PIN_RESET);
	HAL_GPIO_WritePin(GPIOC, C2_Pin, GPIO_PIN_RESET);
	HAL_GPIO_WritePin(GPIOC, D2_Pin, GPIO_PIN_RESET);
	HAL_GPIO_WritePin(GPIOC, E2_Pin, GPIO_PIN_RESET);
	HAL_GPIO_WritePin(GPIOC, F2_Pin, GPIO_PIN_RESET);
	HAL_GPIO_WritePin(GPIOC, G2_Pin, GPIO_PIN_RESET);
	HAL_GPIO_WritePin(GPIOC, DP2_Pin, GPIO_PIN_SET);
}
else if (raw >= 3472 && raw < 3596)
{
	// Left num:
	HAL_GPIO_WritePin(GPIOB, A1_Pin, GPIO_PIN_RESET);
	HAL_GPIO_WritePin(GPIOB, B1_Pin, GPIO_PIN_RESET);
	HAL_GPIO_WritePin(GPIOB, C1_Pin, GPIO_PIN_SET);
	HAL_GPIO_WritePin(GPIOB, D1_Pin, GPIO_PIN_RESET);
	HAL_GPIO_WritePin(GPIOB, E1_Pin, GPIO_PIN_RESET);
	HAL_GPIO_WritePin(GPIOB, F1_Pin, GPIO_PIN_SET);
	HAL_GPIO_WritePin(GPIOB, G1_Pin, GPIO_PIN_RESET);
	HAL_GPIO_WritePin(GPIOB, DP1_Pin, GPIO_PIN_RESET);

	// Right num:
	HAL_GPIO_WritePin(GPIOC, A2_Pin, GPIO_PIN_RESET);
	HAL_GPIO_WritePin(GPIOC, B2_Pin, GPIO_PIN_RESET);
	HAL_GPIO_WritePin(GPIOC, C2_Pin, GPIO_PIN_RESET);
	HAL_GPIO_WritePin(GPIOC, D2_Pin, GPIO_PIN_RESET);
	HAL_GPIO_WritePin(GPIOC, E2_Pin, GPIO_PIN_SET);
	HAL_GPIO_WritePin(GPIOC, F2_Pin, GPIO_PIN_RESET);
	HAL_GPIO_WritePin(GPIOC, G2_Pin, GPIO_PIN_RESET);
	HAL_GPIO_WritePin(GPIOC, DP2_Pin, GPIO_PIN_SET);
}
else if (raw >= 3596 && raw < 3720) // 3.0
{
	// Left num:
	HAL_GPIO_WritePin(GPIOB, A1_Pin, GPIO_PIN_RESET);
	HAL_GPIO_WritePin(GPIOB, B1_Pin, GPIO_PIN_RESET);
	HAL_GPIO_WritePin(GPIOB, C1_Pin, GPIO_PIN_RESET);
	HAL_GPIO_WritePin(GPIOB, D1_Pin, GPIO_PIN_RESET);
	HAL_GPIO_WritePin(GPIOB, E1_Pin, GPIO_PIN_SET);
	HAL_GPIO_WritePin(GPIOB, F1_Pin, GPIO_PIN_SET);
	HAL_GPIO_WritePin(GPIOB, G1_Pin, GPIO_PIN_RESET);
	HAL_GPIO_WritePin(GPIOB, DP1_Pin, GPIO_PIN_RESET);

	// Right num:
	HAL_GPIO_WritePin(GPIOC, A2_Pin, GPIO_PIN_RESET);
	HAL_GPIO_WritePin(GPIOC, B2_Pin, GPIO_PIN_RESET);
	HAL_GPIO_WritePin(GPIOC, C2_Pin, GPIO_PIN_RESET);
	HAL_GPIO_WritePin(GPIOC, D2_Pin, GPIO_PIN_RESET);
	HAL_GPIO_WritePin(GPIOC, E2_Pin, GPIO_PIN_RESET);
	HAL_GPIO_WritePin(GPIOC, F2_Pin, GPIO_PIN_RESET);
	HAL_GPIO_WritePin(GPIOC, G2_Pin, GPIO_PIN_RESET);
	HAL_GPIO_WritePin(GPIOC, DP2_Pin, GPIO_PIN_SET);
}
else if (raw >= 3720 && raw < 3844)
{
	// Left num:
	HAL_GPIO_WritePin(GPIOB, A1_Pin, GPIO_PIN_RESET);
	HAL_GPIO_WritePin(GPIOB, B1_Pin, GPIO_PIN_RESET);
	HAL_GPIO_WritePin(GPIOB, C1_Pin, GPIO_PIN_RESET);
	HAL_GPIO_WritePin(GPIOB, D1_Pin, GPIO_PIN_RESET);
	HAL_GPIO_WritePin(GPIOB, E1_Pin, GPIO_PIN_SET);
	HAL_GPIO_WritePin(GPIOB, F1_Pin, GPIO_PIN_SET);
	HAL_GPIO_WritePin(GPIOB, G1_Pin, GPIO_PIN_RESET);
	HAL_GPIO_WritePin(GPIOB, DP1_Pin, GPIO_PIN_RESET);

	// Right num:
	HAL_GPIO_WritePin(GPIOC, A2_Pin, GPIO_PIN_SET);
	HAL_GPIO_WritePin(GPIOC, B2_Pin, GPIO_PIN_RESET);
	HAL_GPIO_WritePin(GPIOC, C2_Pin, GPIO_PIN_RESET);
	HAL_GPIO_WritePin(GPIOC, D2_Pin, GPIO_PIN_SET);
	HAL_GPIO_WritePin(GPIOC, E2_Pin, GPIO_PIN_SET);
	HAL_GPIO_WritePin(GPIOC, F2_Pin, GPIO_PIN_SET);
	HAL_GPIO_WritePin(GPIOC, G2_Pin, GPIO_PIN_SET);
	HAL_GPIO_WritePin(GPIOC, DP2_Pin, GPIO_PIN_SET);
}
else if (raw >= 3844 && raw < 3968)
{
	// Left num:
	HAL_GPIO_WritePin(GPIOB, A1_Pin, GPIO_PIN_RESET);
	HAL_GPIO_WritePin(GPIOB, B1_Pin, GPIO_PIN_RESET);
	HAL_GPIO_WritePin(GPIOB, C1_Pin, GPIO_PIN_RESET);
	HAL_GPIO_WritePin(GPIOB, D1_Pin, GPIO_PIN_RESET);
	HAL_GPIO_WritePin(GPIOB, E1_Pin, GPIO_PIN_SET);
	HAL_GPIO_WritePin(GPIOB, F1_Pin, GPIO_PIN_SET);
	HAL_GPIO_WritePin(GPIOB, G1_Pin, GPIO_PIN_RESET);
	HAL_GPIO_WritePin(GPIOB, DP1_Pin, GPIO_PIN_RESET);

	// Right num:
	HAL_GPIO_WritePin(GPIOC, A2_Pin, GPIO_PIN_RESET);
	HAL_GPIO_WritePin(GPIOC, B2_Pin, GPIO_PIN_RESET);
	HAL_GPIO_WritePin(GPIOC, C2_Pin, GPIO_PIN_SET);
	HAL_GPIO_WritePin(GPIOC, D2_Pin, GPIO_PIN_RESET);
	HAL_GPIO_WritePin(GPIOC, E2_Pin, GPIO_PIN_RESET);
	HAL_GPIO_WritePin(GPIOC, F2_Pin, GPIO_PIN_SET);
	HAL_GPIO_WritePin(GPIOC, G2_Pin, GPIO_PIN_RESET);
	HAL_GPIO_WritePin(GPIOC, DP2_Pin, GPIO_PIN_SET);
}
else
{
	// Left num:
	HAL_GPIO_WritePin(GPIOB, A1_Pin, GPIO_PIN_RESET);
	HAL_GPIO_WritePin(GPIOB, B1_Pin, GPIO_PIN_RESET);
	HAL_GPIO_WritePin(GPIOB, C1_Pin, GPIO_PIN_RESET);
	HAL_GPIO_WritePin(GPIOB, D1_Pin, GPIO_PIN_RESET);
	HAL_GPIO_WritePin(GPIOB, E1_Pin, GPIO_PIN_SET);
	HAL_GPIO_WritePin(GPIOB, F1_Pin, GPIO_PIN_SET);
	HAL_GPIO_WritePin(GPIOB, G1_Pin, GPIO_PIN_RESET);
	HAL_GPIO_WritePin(GPIOB, DP1_Pin, GPIO_PIN_RESET);

	// Right num:
	HAL_GPIO_WritePin(GPIOC, A2_Pin, GPIO_PIN_RESET);
	HAL_GPIO_WritePin(GPIOC, B2_Pin, GPIO_PIN_RESET);
	HAL_GPIO_WritePin(GPIOC, C2_Pin, GPIO_PIN_RESET);
	HAL_GPIO_WritePin(GPIOC, D2_Pin, GPIO_PIN_RESET);
	HAL_GPIO_WritePin(GPIOC, E2_Pin, GPIO_PIN_SET);
	HAL_GPIO_WritePin(GPIOC, F2_Pin, GPIO_PIN_SET);
	HAL_GPIO_WritePin(GPIOC, G2_Pin, GPIO_PIN_RESET);
	HAL_GPIO_WritePin(GPIOC, DP2_Pin, GPIO_PIN_SET);
}

HAL_Delay(100);
    /* USER CODE END WHILE */

  }
}

void SystemClock_Config(void)
{
  RCC_OscInitTypeDef RCC_OscInitStruct = {0};
  RCC_ClkInitTypeDef RCC_ClkInitStruct = {0};
  RCC_PeriphCLKInitTypeDef PeriphClkInit = {0};

  /** Initializes the RCC Oscillators according to the specified parameters
  * in the RCC_OscInitTypeDef structure.
  */
  RCC_OscInitStruct.OscillatorType = RCC_OSCILLATORTYPE_HSI;
  RCC_OscInitStruct.HSIState = RCC_HSI_ON;
  RCC_OscInitStruct.HSICalibrationValue = RCC_HSICALIBRATION_DEFAULT;
  RCC_OscInitStruct.PLL.PLLState = RCC_PLL_ON;
  RCC_OscInitStruct.PLL.PLLSource = RCC_PLLSOURCE_HSI;
  RCC_OscInitStruct.PLL.PLLMUL = RCC_PLL_MUL9;
  RCC_OscInitStruct.PLL.PREDIV = RCC_PREDIV_DIV1;
  if (HAL_RCC_OscConfig(&RCC_OscInitStruct) != HAL_OK)
  {
    Error_Handler();
  }
  /** Initializes the CPU, AHB and APB buses clocks
  */
  RCC_ClkInitStruct.ClockType = RCC_CLOCKTYPE_HCLK|RCC_CLOCKTYPE_SYSCLK
                              |RCC_CLOCKTYPE_PCLK1|RCC_CLOCKTYPE_PCLK2;
  RCC_ClkInitStruct.SYSCLKSource = RCC_SYSCLKSOURCE_PLLCLK;
  RCC_ClkInitStruct.AHBCLKDivider = RCC_SYSCLK_DIV1;
  RCC_ClkInitStruct.APB1CLKDivider = RCC_HCLK_DIV2;
  RCC_ClkInitStruct.APB2CLKDivider = RCC_HCLK_DIV1;

  if (HAL_RCC_ClockConfig(&RCC_ClkInitStruct, FLASH_LATENCY_2) != HAL_OK)
  {
    Error_Handler();
  }
  PeriphClkInit.PeriphClockSelection = RCC_PERIPHCLK_USART2|RCC_PERIPHCLK_ADC12;
  PeriphClkInit.Usart2ClockSelection = RCC_USART2CLKSOURCE_PCLK1;
  PeriphClkInit.Adc12ClockSelection = RCC_ADC12PLLCLK_DIV1;
  if (HAL_RCCEx_PeriphCLKConfig(&PeriphClkInit) != HAL_OK)
  {
    Error_Handler();
  }
}

static void MX_ADC1_Init(void)
{

  ADC_MultiModeTypeDef multimode = {0};
  ADC_ChannelConfTypeDef sConfig = {0};

  /** Common config
  */
  hadc1.Instance = ADC1;
  hadc1.Init.ClockPrescaler = ADC_CLOCK_ASYNC_DIV1;
  hadc1.Init.Resolution = ADC_RESOLUTION_12B;
  hadc1.Init.ScanConvMode = ADC_SCAN_DISABLE;
  hadc1.Init.ContinuousConvMode = DISABLE;
  hadc1.Init.DiscontinuousConvMode = DISABLE;
  hadc1.Init.ExternalTrigConvEdge = ADC_EXTERNALTRIGCONVEDGE_NONE;
  hadc1.Init.ExternalTrigConv = ADC_SOFTWARE_START;
  hadc1.Init.DataAlign = ADC_DATAALIGN_RIGHT;
  hadc1.Init.NbrOfConversion = 1;
  hadc1.Init.DMAContinuousRequests = DISABLE;
  hadc1.Init.EOCSelection = ADC_EOC_SINGLE_CONV;
  hadc1.Init.LowPowerAutoWait = DISABLE;
  hadc1.Init.Overrun = ADC_OVR_DATA_OVERWRITTEN;
  if (HAL_ADC_Init(&hadc1) != HAL_OK)
  {
    Error_Handler();
  }
  /** Configure the ADC multi-mode
  */
  multimode.Mode = ADC_MODE_INDEPENDENT;
  if (HAL_ADCEx_MultiModeConfigChannel(&hadc1, &multimode) != HAL_OK)
  {
    Error_Handler();
  }
  /** Configure Regular Channel
  */
  sConfig.Channel = ADC_CHANNEL_1;
  sConfig.Rank = ADC_REGULAR_RANK_1;
  sConfig.SingleDiff = ADC_SINGLE_ENDED;
  sConfig.SamplingTime = ADC_SAMPLETIME_1CYCLE_5;
  sConfig.OffsetNumber = ADC_OFFSET_NONE;
  sConfig.Offset = 0;
  if (HAL_ADC_ConfigChannel(&hadc1, &sConfig) != HAL_OK)
  {
    Error_Handler();
  }

}

static void MX_USART2_UART_Init(void)
{

  huart2.Instance = USART2;
  huart2.Init.BaudRate = 9600;
  huart2.Init.WordLength = UART_WORDLENGTH_8B;
  huart2.Init.StopBits = UART_STOPBITS_1;
  huart2.Init.Parity = UART_PARITY_NONE;
  huart2.Init.Mode = UART_MODE_TX_RX;
  huart2.Init.HwFlowCtl = UART_HWCONTROL_NONE;
  huart2.Init.OverSampling = UART_OVERSAMPLING_16;
  huart2.Init.OneBitSampling = UART_ONE_BIT_SAMPLE_DISABLE;
  huart2.AdvancedInit.AdvFeatureInit = UART_ADVFEATURE_NO_INIT;
  if (HAL_UART_Init(&huart2) != HAL_OK)
  {
    Error_Handler();
  }

}

static void MX_GPIO_Init(void)
{
  GPIO_InitTypeDef GPIO_InitStruct = {0};

  /* GPIO Ports Clock Enable */
  __HAL_RCC_GPIOC_CLK_ENABLE();
  __HAL_RCC_GPIOF_CLK_ENABLE();
  __HAL_RCC_GPIOA_CLK_ENABLE();
  __HAL_RCC_GPIOB_CLK_ENABLE();

  /*Configure GPIO pin Output Level */
  HAL_GPIO_WritePin(GPIOC, A2_Pin|B2_Pin|C2_Pin|D2_Pin
                          |E2_Pin|F2_Pin|G2_Pin|DP2_Pin
                          |LEFT_DISPLAY_Pin|RIGHT_DISPLAY_Pin, GPIO_PIN_RESET);

  /*Configure GPIO pin Output Level */
  HAL_GPIO_WritePin(GPIOA, LD2_Pin|GPIO_PIN_10, GPIO_PIN_RESET);

  /*Configure GPIO pin Output Level */
  HAL_GPIO_WritePin(GPIOB, A1_Pin|B1B2_Pin|C1_Pin|D1_Pin
                          |E1_Pin|F1_Pin|G1_Pin|DP1_Pin, GPIO_PIN_RESET);

  /*Configure GPIO pin : B1_Pin */
  GPIO_InitStruct.Pin = B1_Pin;
  GPIO_InitStruct.Mode = GPIO_MODE_IT_FALLING;
  GPIO_InitStruct.Pull = GPIO_NOPULL;
  HAL_GPIO_Init(B1_GPIO_Port, &GPIO_InitStruct);

  /*Configure GPIO pins : A2_Pin B2_Pin C2_Pin D2_Pin
                           E2_Pin F2_Pin G2_Pin DP2_Pin
                           LEFT_DISPLAY_Pin RIGHT_DISPLAY_Pin */
  GPIO_InitStruct.Pin = A2_Pin|B2_Pin|C2_Pin|D2_Pin
                          |E2_Pin|F2_Pin|G2_Pin|DP2_Pin
                          |LEFT_DISPLAY_Pin|RIGHT_DISPLAY_Pin;
  GPIO_InitStruct.Mode = GPIO_MODE_OUTPUT_PP;
  GPIO_InitStruct.Pull = GPIO_NOPULL;
  GPIO_InitStruct.Speed = GPIO_SPEED_FREQ_LOW;
  HAL_GPIO_Init(GPIOC, &GPIO_InitStruct);

  /*Configure GPIO pins : LD2_Pin PA10 */
  GPIO_InitStruct.Pin = LD2_Pin|GPIO_PIN_10;
  GPIO_InitStruct.Mode = GPIO_MODE_OUTPUT_PP;
  GPIO_InitStruct.Pull = GPIO_NOPULL;
  GPIO_InitStruct.Speed = GPIO_SPEED_FREQ_LOW;
  HAL_GPIO_Init(GPIOA, &GPIO_InitStruct);

  /*Configure GPIO pins : A1_Pin B1B2_Pin C1_Pin D1_Pin
                           E1_Pin F1_Pin G1_Pin DP1_Pin */
  GPIO_InitStruct.Pin = A1_Pin|B1B2_Pin|C1_Pin|D1_Pin
                          |E1_Pin|F1_Pin|G1_Pin|DP1_Pin;
  GPIO_InitStruct.Mode = GPIO_MODE_OUTPUT_PP;
  GPIO_InitStruct.Pull = GPIO_NOPULL;
  GPIO_InitStruct.Speed = GPIO_SPEED_FREQ_LOW;
  HAL_GPIO_Init(GPIOB, &GPIO_InitStruct);

}

void Error_Handler(void)
{
  __disable_irq();
  while (1)
  {
  }
}

/************************ (C) COPYRIGHT STMicroelectronics *****END OF FILE****/
